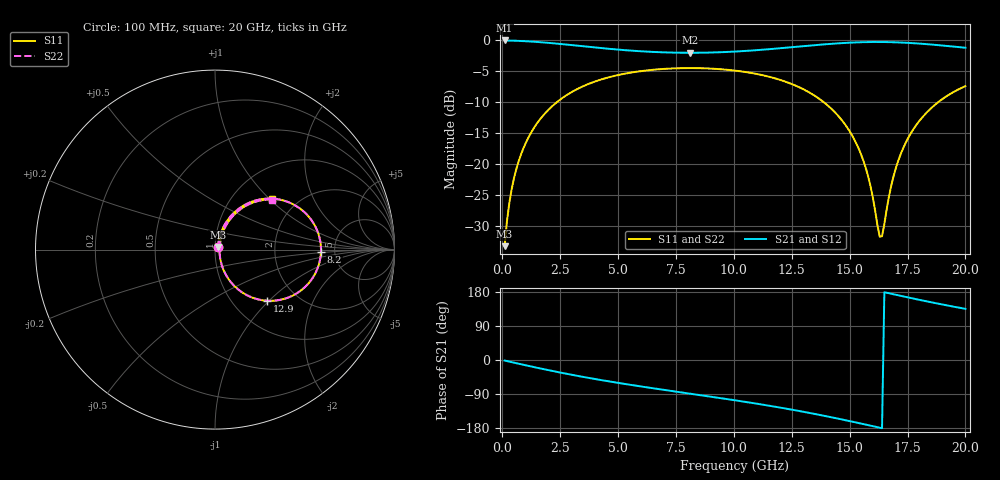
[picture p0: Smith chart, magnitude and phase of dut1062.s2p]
! Touchstone file exported from HFSS 2026.1.0
!  File:  C:/ffzhzh/LocalFiles/Ansys_Project_Files/temp_train_TSV_RDL_1062_1783298295_5512.aedt
!  Generated:  08:49:08 AM Jul  6, 2026
!  Design:  TSV_RDL
!  Project:  temp_train_TSV_RDL_1062_1783298295_5512
! Variables:
!  h_bsmrdl = 4.71um
!  h_ox = 20um
!  h_rdl = 5um
!  h_sub = 53.98um
!  h_tmrdl = 4.99um
!  h_tsv = 53.98um
!  h_via = 3um
!  l_bsmrdl = 737.42um
!  l_sub = 3902.24um
!  l_tmrdl = 295.63um
!  m_sub = 200um
!  pitch = 51.47um
!  r_tsv = 12.33um
!  s_tmrdl = 10um
!  w_bsmrdl = 16.12um
!  w_sub = 500um
!  w_tmrdl = 19.7um
!  x_tsv_center1 = 305.48um
!  x_tsv_center2 = 1059.02um
!  x_tsv_center3 = 1374.35um
!  x_tsv_center4 = 2127.89um
!  x_tsv_center5 = 2443.22um
!  x_tsv_center6 = 3196.76um
# GHz S MA R 50.000000
! Terminal data exported
! Port[1] = TM_RDL1_1_T1
! Port[2] = TM_RDL5_1_T1
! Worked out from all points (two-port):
!   200 points, 100 MHz to 20 GHz, reference 50 ohm
!   highest |S21| = -0.14 dB at 100 MHz (marker M1); lowest = -2.1 dB at 8.1 GHz (marker M2)
!   |S21| within 3 dB of the highest: start of sweep to end of sweep
!   lowest |S11| = -33.2 dB at 100 MHz (marker M3), VSWR 1.04, Z = 51.6 + j1.56 ohm
!   |S11| at or under -10 dB: start of sweep to 2.376 GHz; 13.86 GHz to 18.85 GHz (4.983 GHz wide, 30.5 % of centre)
!   |S22| runs from -33.2 to -4.6 dB; largest |S21 - S12| = 3.7e-14
!   S11 on the Smith chart (normalised r, x): 100 MHz: 1.03, +0.03; 8.2 GHz: 3.88, -0.14; 12.9 GHz: 1.43, -0.98; 20 GHz: 1.51, +1.03
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0.1  0.02186 43.7  0.9845 -1.4  0.9845 -1.4  0.02186 43.7
! Gamma 0 0 0 0
! Port Impedance 50 0 50 0
0.3  0.04817 65.8  0.9825 -4.2  0.9825 -4.2  0.04817 65.8
0.5  0.07621 70.0  0.98 -7.0  0.98 -7.0  0.07621 70.0
1.1  0.1594 68.1  0.9687 -15.2  0.9687 -15.2  0.1594 68.1
2.1  0.2854 57.7  0.938 -28.2  0.938 -28.2  0.2854 57.7
3.5  0.4227 42.3  0.8836 -44.7  0.8836 -44.7  0.4227 42.3
6.8  0.5784 10.9  0.792 -77.2  0.792 -77.2  0.5784 10.9
8.1  0.5905 -0.3  0.7834 -88.8  0.7834 -88.8  0.5905 -0.2
8.2  0.5904 -1.1  0.7835 -89.6  0.7835 -89.6  0.5904 -1.1
10.1  0.5621 -17.5  0.8024 -106.8  0.8024 -106.8  0.5621 -17.5
12.9  0.4077 -44.4  0.8825 -135.4  0.8825 -135.4  0.4077 -44.4
13.4  0.3628 -49.6  0.8995 -141.2  0.8995 -141.2  0.3628 -49.6
14.5  0.2447 -60.8  0.9333 -154.7  0.9333 -154.7  0.2447 -60.8
15.3  0.1449 -66.9  0.9502 -165.2  0.9502 -165.2  0.1449 -66.8
15.8  0.0795 -64.9  0.9558 -171.8  0.9558 -171.8  0.07956 -64.8
16.3  0.02606 -14.5  0.9571 -178.6  0.9571 -178.6  0.02622 -14.4
16.4  0.02628 14.8  0.9568 -179.9  0.9568 -179.9  0.02643 14.7
16.7  0.05486 57.3  0.9548 176.0  0.9548 176.0  0.05493 57.2
17.2  0.1193 66.0  0.9481 169.3  0.9481 169.3  0.1193 65.9
17.8  0.196 63.1  0.9349 161.5  0.9349 161.5  0.1961 63.1
18.7  0.3009 54.7  0.9072 150.1  0.9072 150.1  0.3009 54.6
20  0.4226 41.4  0.8601 135.0  0.8601 135.0  0.4226 41.3
